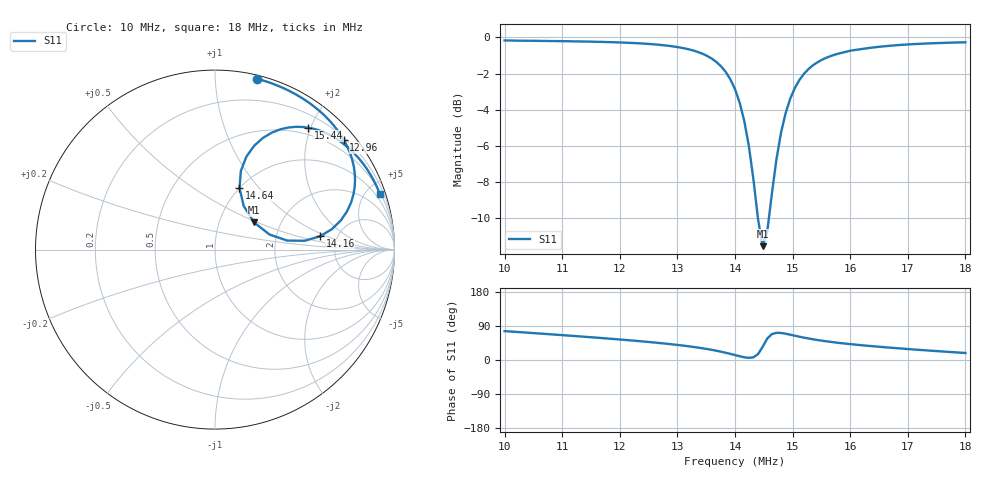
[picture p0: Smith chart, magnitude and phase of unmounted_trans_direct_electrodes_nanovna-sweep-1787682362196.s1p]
! NanoVNA Web complex sweep
! Processing: original sample grid, no browser smoothing
# Hz S RI R 50
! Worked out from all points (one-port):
!   101 points, 10 MHz to 18 MHz, reference 50 ohm
!   lowest |S11| = -11.5 dB at 14.48 MHz (marker M1), VSWR 1.72, Z = 73.2 + j23.8 ohm
!   |S11| at or under -10 dB: 14.4 MHz to 14.59 MHz (189.2 kHz wide, 1.31 % of centre)
!   S11 on the Smith chart (normalised r, x): 10 MHz: 0.03, +1.27; 12.96 MHz: 0.25, +2.69; 14.16 MHz: 3.66, +0.83; 14.64 MHz: 1.00, +0.80; 15.44 MHz: 0.39, +1.96; 18 MHz: 0.60, +6.09
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1e7  0.2332 0.9526
1.104e7  0.4092 0.8862
1.2e7  0.5674 0.7848
1.248e7  0.6444 0.7116
1.296e7  0.717 0.6118
1.304e7  0.7284 0.5915
1.336e7  0.7666 0.492
1.368e7  0.7786 0.3523
1.384e7  0.7584 0.2623
1.4e7  0.7009 0.1624
1.416e7  0.584 0.0737
1.424e7  0.4997 0.0491
1.432e7  0.4023 0.0503
1.44e7  0.3033 0.0842
1.448e7  0.2177 0.1514
1.456e7  0.1599 0.2432
1.464e7  0.1364 0.3436
1.472e7  0.1442 0.4383
1.48e7  0.1749 0.5179
1.488e7  0.2185 0.5789
1.504e7  0.3178 0.6523
1.52e7  0.41 0.6804
1.544e7  0.5201 0.6791
1.568e7  0.602 0.6559
1.6e7  0.6829 0.6146
1.648e7  0.7689 0.5429
1.704e7  0.8411 0.4567
1.8e7  0.9193 0.3074
